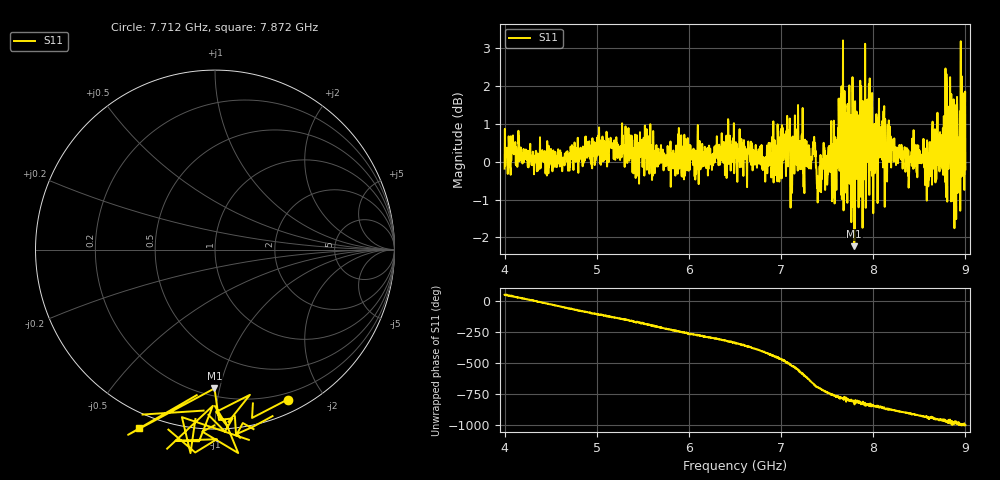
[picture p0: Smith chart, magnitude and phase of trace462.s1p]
! Created with skrf 1.8.0 (http://scikit-rf.org).
# Hz S RI R 50.0
!freq ReS11 ImS11
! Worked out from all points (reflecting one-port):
!   1601 points, 4 GHz to 9 GHz, reference 50 ohm
!   lowest |S11| = -2.2 dB at 7.794 GHz (marker M1), VSWR 7.83, Z = 12.5 - j48.2 ohm
!   phase of S11 starts at 50 deg and turns -1053 deg over the sweep
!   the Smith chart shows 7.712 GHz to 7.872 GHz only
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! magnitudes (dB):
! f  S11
! 4 GHz  -0.2
! 4.094 GHz  0.2
! 4.625 GHz  -0.2
! 5.25 GHz  0.2
! 5.875 GHz  0.1
! 6.5 GHz  0.4
! 6.819 GHz  -0.1
! 7.072 GHz  0.7
! 7.125 GHz  0.1
! 7.162 GHz  0.5
! 7.262 GHz  0.5
! 7.353 GHz  0.4
! 7.409 GHz  -0.8
! 7.45 GHz  -0.1
! 7.578 GHz  -0.1
! 7.647 GHz  0.2
! 7.75 GHz  -0.2
! 7.775 GHz  2.2
! 7.794 GHz  -2.2
! 7.844 GHz  0.6
! 7.997 GHz  0.4
! 8.05 GHz  1.1
! 8.375 GHz  0.1
! 8.584 GHz  0.6
! 8.816 GHz  -0.2
! 8.875 GHz  1.0
! 8.972 GHz  0.7
! 9 GHz  -0.2
